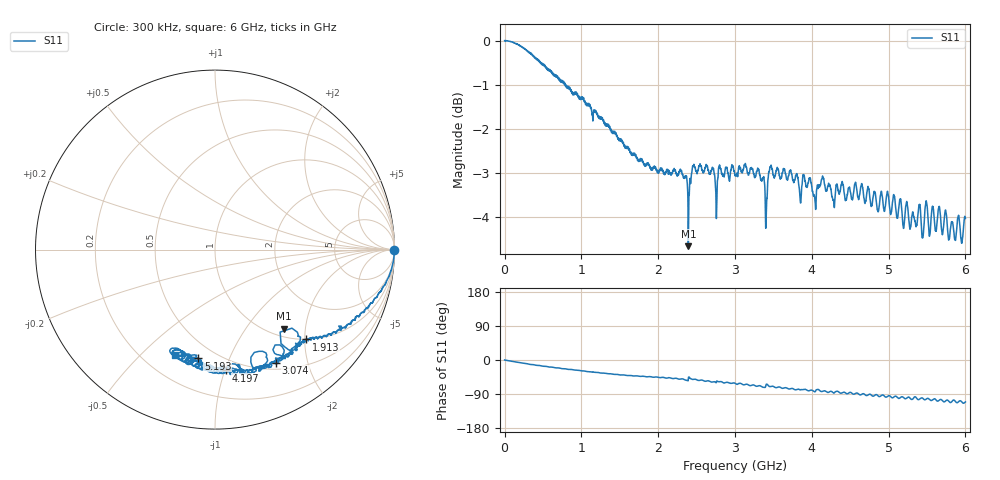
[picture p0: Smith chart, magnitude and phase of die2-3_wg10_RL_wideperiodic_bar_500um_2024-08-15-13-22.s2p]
!Keysight Technologies,P9374A,MY57304198,A.17.20.09
!Date: Thursday, August 15, 2024 13:28:18
!Correction: S11(C  1-Port  )
!S21(C  1-Port  )
!S12(Off)
!S22(Off)
!S2P File: Measurements: S11, S21, S12, S22:
# Hz S  dB  R 50
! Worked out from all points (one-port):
!   6000 points, 300 kHz to 6 GHz, reference 50 ohm
!   lowest |S11| = -4.7 dB at 2.393 GHz (marker M1), VSWR 3.81, Z = 57.4 - j76.8 ohm
!   |S11| at or under -10 dB: nowhere
!   S11 on the Smith chart (normalised r, x): 300 kHz: open; 1.913 GHz: 1.00, -2.03; 3.074 GHz: 0.59, -1.51; 4.197 GHz: 0.41, -1.01; 5.193 GHz: 0.40, -0.78; 6 GHz: 0.33, -0.64
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300000  -0.00 -0.0  -200.00 45.0  -200.00 45.0  -200.00 45.0
4.133482e8  -0.40 -13.8  -200.00 45.0  -200.00 45.0  -200.00 45.0
1.000417e9  -1.31 -28.6  -200.00 45.0  -200.00 45.0  -200.00 45.0
1.427467e9  -2.11 -38.0  -200.00 45.0  -200.00 45.0  -200.00 45.0
1.912523e9  -2.93 -44.5  -200.00 45.0  -200.00 45.0  -200.00 45.0
2.000533e9  -2.99 -45.7  -200.00 45.0  -200.00 45.0  -200.00 45.0
2.355575e9  -3.08 -52.9  -200.00 45.0  -200.00 45.0  -200.00 45.0
2.392579e9  -4.67 -48.9  -200.00 45.0  -200.00 45.0  -200.00 45.0
2.467588e9  -2.83 -50.8  -200.00 45.0  -200.00 45.0  -200.00 45.0
2.729618e9  -3.03 -57.3  -200.00 45.0  -200.00 45.0  -200.00 45.0
3.00065e9  -3.06 -61.4  -200.00 45.0  -200.00 45.0  -200.00 45.0
3.073659e9  -2.91 -61.6  -200.00 45.0  -200.00 45.0  -200.00 45.0
3.370693e9  -3.10 -72.2  -200.00 45.0  -200.00 45.0  -200.00 45.0
3.434701e9  -3.05 -67.7  -200.00 45.0  -200.00 45.0  -200.00 45.0
3.632724e9  -2.91 -74.3  -200.00 45.0  -200.00 45.0  -200.00 45.0
4.000767e9  -3.34 -79.5  -200.00 45.0  -200.00 45.0  -200.00 45.0
4.082776e9  -3.35 -77.7  -200.00 45.0  -200.00 45.0  -200.00 45.0
4.19679e9  -3.40 -84.8  -200.00 45.0  -200.00 45.0  -200.00 45.0
4.329805e9  -3.27 -82.3  -200.00 45.0  -200.00 45.0  -200.00 45.0
5.000883e9  -3.56 -94.2  -200.00 45.0  -200.00 45.0  -200.00 45.0
5.192906e9  -4.25 -98.7  -200.00 45.0  -200.00 45.0  -200.00 45.0
6e9  -4.04 -110.6  -200.00 45.0  -200.00 45.0  -200.00 45.0
